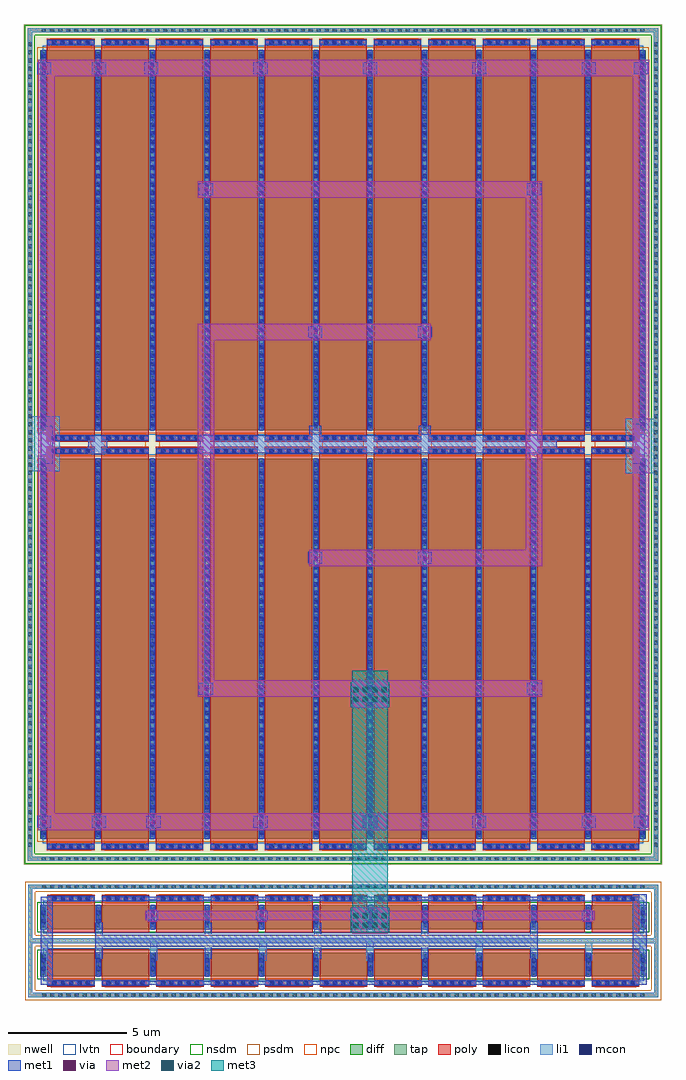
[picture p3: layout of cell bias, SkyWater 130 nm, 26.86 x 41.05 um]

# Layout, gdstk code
import gdstk
lib = gdstk.Library(unit=1e-6, precision=1e-09)
def R(c, l, rs):  # rectangles x0, y0, x1, y1
    for r in rs: c.add(gdstk.rectangle(r[:2], r[2:], *l))
def A(c, l, x, y, w, h, nx, ny, dx, dy):  # array of equal rectangles
    R(c, l, [(x+i*dx, y+j*dy, x+i*dx+w, y+j*dy+h) for i in range(nx) for j in range(ny)])
nwell = (64, 20)
diff = (65, 20)
tap = (65, 44)
poly = (66, 20)
licon = (66, 44)
li1 = (67, 20)
mcon = (67, 44)
met1 = (68, 20)
via = (68, 44)
met2 = (69, 20)
via2 = (69, 44)
met3 = (70, 20)
nsdm = (93, 44)
psdm = (94, 20)
npc = (95, 20)
lvtn = (125, 44)
boundary = (235, 4)

sky130_fd_pr__pfet_01v8_ = lib.new_cell('sky130_fd_pr__pfet_01v8_lvt_QH9SH3')
R(sky130_fd_pr__pfet_01v8_, nwell, [(-13.43,-17.685,13.43,17.685)])
R(sky130_fd_pr__pfet_01v8_, diff, [(-12.74,-16.59,12.74,-0.59), (-12.74,0.59,12.74,16.59)])
R(sky130_fd_pr__pfet_01v8_, tap, [(-13.25,-17.505,13.25,-17.335), (-13.25,-17.335,-13.08,17.335), (13.08,-17.335,13.25,17.335), (-13.25,17.335,13.25,17.505)])
A(sky130_fd_pr__pfet_01v8_, poly, -12.45, -17.075, 2, 16.97, 11, 2, 2.29, 17.18)
A(sky130_fd_pr__pfet_01v8_, licon, -12.665, -17.505, 0.17, 0.17, 75, 2, 0.34, 34.84)
A(sky130_fd_pr__pfet_01v8_, licon, -12.215, -16.995, 0.17, 0.17, 5, 2, 0.34, 16.64)
A(sky130_fd_pr__pfet_01v8_, licon, -9.925, -16.995, 0.17, 0.17, 5, 2, 0.34, 16.64)
A(sky130_fd_pr__pfet_01v8_, licon, -7.635, -16.995, 0.17, 0.17, 5, 2, 0.34, 16.64)
A(sky130_fd_pr__pfet_01v8_, licon, -5.345, -16.995, 0.17, 0.17, 5, 2, 0.34, 16.64)
A(sky130_fd_pr__pfet_01v8_, licon, -3.055, -16.995, 0.17, 0.17, 5, 2, 0.34, 16.64)
A(sky130_fd_pr__pfet_01v8_, licon, -0.765, -16.995, 0.17, 0.17, 5, 2, 0.34, 16.64)
A(sky130_fd_pr__pfet_01v8_, licon, 1.525, -16.995, 0.17, 0.17, 5, 2, 0.34, 16.64)
A(sky130_fd_pr__pfet_01v8_, licon, 3.815, -16.995, 0.17, 0.17, 5, 2, 0.34, 16.64)
A(sky130_fd_pr__pfet_01v8_, licon, 6.105, -16.995, 0.17, 0.17, 5, 2, 0.34, 16.64)
A(sky130_fd_pr__pfet_01v8_, licon, 8.395, -16.995, 0.17, 0.17, 5, 2, 0.34, 16.64)
A(sky130_fd_pr__pfet_01v8_, licon, 10.685, -16.995, 0.17, 0.17, 5, 2, 0.34, 16.64)
A(sky130_fd_pr__pfet_01v8_, licon, -13.25, -16.915, 0.17, 0.17, 1, 100, 0, 0.34)
A(sky130_fd_pr__pfet_01v8_, licon, 13.08, -16.915, 0.17, 0.17, 1, 100, 0, 0.34)
A(sky130_fd_pr__pfet_01v8_, licon, -12.68, -16.495, 0.17, 0.17, 12, 47, 2.29, 0.34)
A(sky130_fd_pr__pfet_01v8_, licon, -12.215, 0.185, 0.17, 0.17, 5, 2, 0.34, 16.64)
A(sky130_fd_pr__pfet_01v8_, licon, -9.925, 0.185, 0.17, 0.17, 5, 2, 0.34, 16.64)
A(sky130_fd_pr__pfet_01v8_, licon, -7.635, 0.185, 0.17, 0.17, 5, 2, 0.34, 16.64)
A(sky130_fd_pr__pfet_01v8_, licon, -5.345, 0.185, 0.17, 0.17, 5, 2, 0.34, 16.64)
A(sky130_fd_pr__pfet_01v8_, licon, -3.055, 0.185, 0.17, 0.17, 5, 2, 0.34, 16.64)
A(sky130_fd_pr__pfet_01v8_, licon, -0.765, 0.185, 0.17, 0.17, 5, 2, 0.34, 16.64)
A(sky130_fd_pr__pfet_01v8_, licon, 1.525, 0.185, 0.17, 0.17, 5, 2, 0.34, 16.64)
A(sky130_fd_pr__pfet_01v8_, licon, 3.815, 0.185, 0.17, 0.17, 5, 2, 0.34, 16.64)
A(sky130_fd_pr__pfet_01v8_, licon, 6.105, 0.185, 0.17, 0.17, 5, 2, 0.34, 16.64)
A(sky130_fd_pr__pfet_01v8_, licon, 8.395, 0.185, 0.17, 0.17, 5, 2, 0.34, 16.64)
A(sky130_fd_pr__pfet_01v8_, licon, 10.685, 0.185, 0.17, 0.17, 5, 2, 0.34, 16.64)
A(sky130_fd_pr__pfet_01v8_, licon, -12.68, 0.685, 0.17, 0.17, 12, 47, 2.29, 0.34)
A(sky130_fd_pr__pfet_01v8_, li1, -12.45, -16.995, 2, 0.17, 11, 2, 2.29, 16.64)
A(sky130_fd_pr__pfet_01v8_, li1, -12.68, -16.61, 0.17, 16.04, 12, 2, 2.29, 17.18)
A(sky130_fd_pr__pfet_01v8_, li1, -12.45, 0.185, 2, 0.17, 11, 2, 2.29, 16.64)
R(sky130_fd_pr__pfet_01v8_, li1, [(-13.25,-17.505,13.25,-17.335), (-13.25,-17.335,-13.08,17.335), (13.08,-17.335,13.25,17.335), (-13.25,17.335,13.25,17.505)])
A(sky130_fd_pr__pfet_01v8_, mcon, -12.255, -16.995, 0.17, 0.17, 5, 2, 0.36, 16.64)
A(sky130_fd_pr__pfet_01v8_, mcon, -9.965, -16.995, 0.17, 0.17, 5, 2, 0.36, 16.64)
A(sky130_fd_pr__pfet_01v8_, mcon, -7.675, -16.995, 0.17, 0.17, 5, 2, 0.36, 16.64)
A(sky130_fd_pr__pfet_01v8_, mcon, -5.385, -16.995, 0.17, 0.17, 5, 2, 0.36, 16.64)
A(sky130_fd_pr__pfet_01v8_, mcon, -3.095, -16.995, 0.17, 0.17, 5, 2, 0.36, 16.64)
A(sky130_fd_pr__pfet_01v8_, mcon, -0.805, -16.995, 0.17, 0.17, 5, 2, 0.36, 16.64)
A(sky130_fd_pr__pfet_01v8_, mcon, 1.485, -16.995, 0.17, 0.17, 5, 2, 0.36, 16.64)
A(sky130_fd_pr__pfet_01v8_, mcon, 3.775, -16.995, 0.17, 0.17, 5, 2, 0.36, 16.64)
A(sky130_fd_pr__pfet_01v8_, mcon, 6.065, -16.995, 0.17, 0.17, 5, 2, 0.36, 16.64)
A(sky130_fd_pr__pfet_01v8_, mcon, 8.355, -16.995, 0.17, 0.17, 5, 2, 0.36, 16.64)
A(sky130_fd_pr__pfet_01v8_, mcon, 10.645, -16.995, 0.17, 0.17, 5, 2, 0.36, 16.64)
A(sky130_fd_pr__pfet_01v8_, mcon, -12.68, -16.415, 0.17, 0.17, 12, 44, 2.29, 0.36)
A(sky130_fd_pr__pfet_01v8_, mcon, -12.255, 0.185, 0.17, 0.17, 5, 2, 0.36, 16.64)
A(sky130_fd_pr__pfet_01v8_, mcon, -9.965, 0.185, 0.17, 0.17, 5, 2, 0.36, 16.64)
A(sky130_fd_pr__pfet_01v8_, mcon, -7.675, 0.185, 0.17, 0.17, 5, 2, 0.36, 16.64)
A(sky130_fd_pr__pfet_01v8_, mcon, -5.385, 0.185, 0.17, 0.17, 5, 2, 0.36, 16.64)
A(sky130_fd_pr__pfet_01v8_, mcon, -3.095, 0.185, 0.17, 0.17, 5, 2, 0.36, 16.64)
A(sky130_fd_pr__pfet_01v8_, mcon, -0.805, 0.185, 0.17, 0.17, 5, 2, 0.36, 16.64)
A(sky130_fd_pr__pfet_01v8_, mcon, 1.485, 0.185, 0.17, 0.17, 5, 2, 0.36, 16.64)
A(sky130_fd_pr__pfet_01v8_, mcon, 3.775, 0.185, 0.17, 0.17, 5, 2, 0.36, 16.64)
A(sky130_fd_pr__pfet_01v8_, mcon, 6.065, 0.185, 0.17, 0.17, 5, 2, 0.36, 16.64)
A(sky130_fd_pr__pfet_01v8_, mcon, 8.355, 0.185, 0.17, 0.17, 5, 2, 0.36, 16.64)
A(sky130_fd_pr__pfet_01v8_, mcon, 10.645, 0.185, 0.17, 0.17, 5, 2, 0.36, 16.64)
A(sky130_fd_pr__pfet_01v8_, mcon, -12.68, 0.765, 0.17, 0.17, 12, 44, 2.29, 0.36)
A(sky130_fd_pr__pfet_01v8_, met1, -12.43, -17.025, 1.96, 0.23, 11, 2, 2.29, 16.64)
A(sky130_fd_pr__pfet_01v8_, met1, -12.71, -16.59, 0.23, 16, 12, 2, 2.29, 17.18)
A(sky130_fd_pr__pfet_01v8_, met1, -12.43, 0.155, 1.96, 0.23, 11, 2, 2.29, 16.64)
R(sky130_fd_pr__pfet_01v8_, nsdm, [(-13.375,-17.63,13.375,-17.21), (-13.375,-17.21,-12.955,17.21), (12.955,-17.21,13.375,17.21), (-13.375,17.21,13.375,17.63)])
R(sky130_fd_pr__pfet_01v8_, psdm, [(-12.865,-16.715,12.865,-0.465), (-12.865,0.465,12.865,16.715)])
A(sky130_fd_pr__pfet_01v8_, npc, -12.315, -17.095, 1.73, 0.37, 11, 2, 2.29, 33.82)
A(sky130_fd_pr__pfet_01v8_, npc, -12.315, -0.455, 1.73, 0.91, 11, 1, 2.29, 0)
R(sky130_fd_pr__pfet_01v8_, lvtn, [(-12.63,-16.77,12.63,-0.41), (-12.63,0.41,12.63,16.77)])
R(sky130_fd_pr__pfet_01v8_, boundary, [(-13.165,-17.42,13.165,17.42)])

sky130_fd_pr__nfet_01v8_ = lib.new_cell('sky130_fd_pr__nfet_01v8_lvt_M93XMJ')
R(sky130_fd_pr__nfet_01v8_, diff, [(-12.74,-0.655,12.74,0.345)])
R(sky130_fd_pr__nfet_01v8_, tap, [(-13.25,-1.215,13.25,-1.045), (-13.25,-1.045,-13.08,1.045), (13.08,-1.045,13.25,1.045), (-13.25,1.045,13.25,1.215)])
A(sky130_fd_pr__nfet_01v8_, poly, -12.45, -0.785, 2, 1.57, 11, 1, 2.29, 0)
A(sky130_fd_pr__nfet_01v8_, licon, -12.68, -0.58, 0.17, 0.17, 12, 3, 2.29, 0.34)
A(sky130_fd_pr__nfet_01v8_, licon, -12.215, 0.535, 0.17, 0.17, 5, 1, 0.34, 0)
A(sky130_fd_pr__nfet_01v8_, licon, -9.925, 0.535, 0.17, 0.17, 5, 1, 0.34, 0)
A(sky130_fd_pr__nfet_01v8_, licon, -7.635, 0.535, 0.17, 0.17, 5, 1, 0.34, 0)
A(sky130_fd_pr__nfet_01v8_, licon, -5.345, 0.535, 0.17, 0.17, 5, 1, 0.34, 0)
A(sky130_fd_pr__nfet_01v8_, licon, -3.055, 0.535, 0.17, 0.17, 5, 1, 0.34, 0)
A(sky130_fd_pr__nfet_01v8_, licon, -0.765, 0.535, 0.17, 0.17, 5, 1, 0.34, 0)
A(sky130_fd_pr__nfet_01v8_, licon, 1.525, 0.535, 0.17, 0.17, 5, 1, 0.34, 0)
A(sky130_fd_pr__nfet_01v8_, licon, 3.815, 0.535, 0.17, 0.17, 5, 1, 0.34, 0)
A(sky130_fd_pr__nfet_01v8_, licon, 6.105, 0.535, 0.17, 0.17, 5, 1, 0.34, 0)
A(sky130_fd_pr__nfet_01v8_, licon, 8.395, 0.535, 0.17, 0.17, 5, 1, 0.34, 0)
A(sky130_fd_pr__nfet_01v8_, licon, 10.685, 0.535, 0.17, 0.17, 5, 1, 0.34, 0)
A(sky130_fd_pr__nfet_01v8_, licon, -12.665, 1.045, 0.17, 0.17, 75, 1, 0.34, 0)
A(sky130_fd_pr__nfet_01v8_, li1, -12.68, -0.675, 0.17, 1.04, 12, 1, 2.29, 0)
A(sky130_fd_pr__nfet_01v8_, li1, -12.45, 0.535, 2, 0.17, 11, 1, 2.29, 0)
R(sky130_fd_pr__nfet_01v8_, li1, [(-13.25,-1.215,13.25,-1.045), (-13.25,-1.045,-13.08,1.045), (13.08,-1.045,13.25,1.045), (-13.25,1.045,13.25,1.215)])
A(sky130_fd_pr__nfet_01v8_, mcon, -12.68, -0.42, 0.17, 0.17, 12, 2, 2.29, 0.36)
A(sky130_fd_pr__nfet_01v8_, mcon, -12.255, 0.535, 0.17, 0.17, 5, 1, 0.36, 0)
A(sky130_fd_pr__nfet_01v8_, mcon, -9.965, 0.535, 0.17, 0.17, 5, 1, 0.36, 0)
A(sky130_fd_pr__nfet_01v8_, mcon, -7.675, 0.535, 0.17, 0.17, 5, 1, 0.36, 0)
A(sky130_fd_pr__nfet_01v8_, mcon, -5.385, 0.535, 0.17, 0.17, 5, 1, 0.36, 0)
A(sky130_fd_pr__nfet_01v8_, mcon, -3.095, 0.535, 0.17, 0.17, 5, 1, 0.36, 0)
A(sky130_fd_pr__nfet_01v8_, mcon, -0.805, 0.535, 0.17, 0.17, 5, 1, 0.36, 0)
A(sky130_fd_pr__nfet_01v8_, mcon, 1.485, 0.535, 0.17, 0.17, 5, 1, 0.36, 0)
A(sky130_fd_pr__nfet_01v8_, mcon, 3.775, 0.535, 0.17, 0.17, 5, 1, 0.36, 0)
A(sky130_fd_pr__nfet_01v8_, mcon, 6.065, 0.535, 0.17, 0.17, 5, 1, 0.36, 0)
A(sky130_fd_pr__nfet_01v8_, mcon, 8.355, 0.535, 0.17, 0.17, 5, 1, 0.36, 0)
A(sky130_fd_pr__nfet_01v8_, mcon, 10.645, 0.535, 0.17, 0.17, 5, 1, 0.36, 0)
A(sky130_fd_pr__nfet_01v8_, met1, -12.71, -0.655, 0.23, 1, 12, 1, 2.29, 0)
A(sky130_fd_pr__nfet_01v8_, met1, -12.43, 0.505, 1.96, 0.23, 11, 1, 2.29, 0)
R(sky130_fd_pr__nfet_01v8_, nsdm, [(-12.865,-0.78,12.865,0.47)])
R(sky130_fd_pr__nfet_01v8_, psdm, [(-13.375,-1.34,13.375,-0.92), (-13.375,-0.92,-12.955,0.92), (12.955,-0.92,13.375,0.92), (-13.375,0.92,13.375,1.34)])
A(sky130_fd_pr__nfet_01v8_, npc, -12.315, 0.435, 1.73, 0.37, 11, 1, 2.29, 0)
R(sky130_fd_pr__nfet_01v8_, lvtn, [(-12.63,-0.835,12.63,0.525)])
R(sky130_fd_pr__nfet_01v8_, boundary, [(-13.165,-1.13,13.165,1.13)])

c_sky130_fd_pr__nfet_01v8_ = lib.new_cell('sky130_fd_pr__nfet_01v8_lvt_J9QE6F')
R(c_sky130_fd_pr__nfet_01v8_, diff, [(-12.74,-0.345,12.74,0.655)])
R(c_sky130_fd_pr__nfet_01v8_, tap, [(-13.25,-1.215,13.25,-1.045), (-13.25,-1.045,-13.08,1.045), (13.08,-1.045,13.25,1.045), (-13.25,1.045,13.25,1.215)])
A(c_sky130_fd_pr__nfet_01v8_, poly, -12.45, -0.785, 2, 1.57, 11, 1, 2.29, 0)
A(c_sky130_fd_pr__nfet_01v8_, licon, -12.665, -1.215, 0.17, 0.17, 75, 1, 0.34, 0)
A(c_sky130_fd_pr__nfet_01v8_, licon, -12.215, -0.705, 0.17, 0.17, 5, 1, 0.34, 0)
A(c_sky130_fd_pr__nfet_01v8_, licon, -9.925, -0.705, 0.17, 0.17, 5, 1, 0.34, 0)
A(c_sky130_fd_pr__nfet_01v8_, licon, -7.635, -0.705, 0.17, 0.17, 5, 1, 0.34, 0)
A(c_sky130_fd_pr__nfet_01v8_, licon, -5.345, -0.705, 0.17, 0.17, 5, 1, 0.34, 0)
A(c_sky130_fd_pr__nfet_01v8_, licon, -3.055, -0.705, 0.17, 0.17, 5, 1, 0.34, 0)
A(c_sky130_fd_pr__nfet_01v8_, licon, -0.765, -0.705, 0.17, 0.17, 5, 1, 0.34, 0)
A(c_sky130_fd_pr__nfet_01v8_, licon, 1.525, -0.705, 0.17, 0.17, 5, 1, 0.34, 0)
A(c_sky130_fd_pr__nfet_01v8_, licon, 3.815, -0.705, 0.17, 0.17, 5, 1, 0.34, 0)
A(c_sky130_fd_pr__nfet_01v8_, licon, 6.105, -0.705, 0.17, 0.17, 5, 1, 0.34, 0)
A(c_sky130_fd_pr__nfet_01v8_, licon, 8.395, -0.705, 0.17, 0.17, 5, 1, 0.34, 0)
A(c_sky130_fd_pr__nfet_01v8_, licon, 10.685, -0.705, 0.17, 0.17, 5, 1, 0.34, 0)
A(c_sky130_fd_pr__nfet_01v8_, licon, -12.68, -0.27, 0.17, 0.17, 12, 3, 2.29, 0.34)
A(c_sky130_fd_pr__nfet_01v8_, li1, -12.45, -0.705, 2, 0.17, 11, 1, 2.29, 0)
A(c_sky130_fd_pr__nfet_01v8_, li1, -12.68, -0.365, 0.17, 1.04, 12, 1, 2.29, 0)
R(c_sky130_fd_pr__nfet_01v8_, li1, [(-13.25,-1.215,13.25,-1.045), (-13.25,-1.045,-13.08,1.045), (13.08,-1.045,13.25,1.045), (-13.25,1.045,13.25,1.215)])
A(c_sky130_fd_pr__nfet_01v8_, mcon, -12.255, -0.705, 0.17, 0.17, 5, 1, 0.36, 0)
A(c_sky130_fd_pr__nfet_01v8_, mcon, -9.965, -0.705, 0.17, 0.17, 5, 1, 0.36, 0)
A(c_sky130_fd_pr__nfet_01v8_, mcon, -7.675, -0.705, 0.17, 0.17, 5, 1, 0.36, 0)
A(c_sky130_fd_pr__nfet_01v8_, mcon, -5.385, -0.705, 0.17, 0.17, 5, 1, 0.36, 0)
A(c_sky130_fd_pr__nfet_01v8_, mcon, -3.095, -0.705, 0.17, 0.17, 5, 1, 0.36, 0)
A(c_sky130_fd_pr__nfet_01v8_, mcon, -0.805, -0.705, 0.17, 0.17, 5, 1, 0.36, 0)
A(c_sky130_fd_pr__nfet_01v8_, mcon, 1.485, -0.705, 0.17, 0.17, 5, 1, 0.36, 0)
A(c_sky130_fd_pr__nfet_01v8_, mcon, 3.775, -0.705, 0.17, 0.17, 5, 1, 0.36, 0)
A(c_sky130_fd_pr__nfet_01v8_, mcon, 6.065, -0.705, 0.17, 0.17, 5, 1, 0.36, 0)
A(c_sky130_fd_pr__nfet_01v8_, mcon, 8.355, -0.705, 0.17, 0.17, 5, 1, 0.36, 0)
A(c_sky130_fd_pr__nfet_01v8_, mcon, 10.645, -0.705, 0.17, 0.17, 5, 1, 0.36, 0)
A(c_sky130_fd_pr__nfet_01v8_, mcon, -12.68, -0.11, 0.17, 0.17, 12, 2, 2.29, 0.36)
A(c_sky130_fd_pr__nfet_01v8_, met1, -12.43, -0.735, 1.96, 0.23, 11, 1, 2.29, 0)
A(c_sky130_fd_pr__nfet_01v8_, met1, -12.71, -0.345, 0.23, 1, 12, 1, 2.29, 0)
R(c_sky130_fd_pr__nfet_01v8_, nsdm, [(-12.865,-0.47,12.865,0.78)])
R(c_sky130_fd_pr__nfet_01v8_, psdm, [(-13.375,-1.34,13.375,-0.92), (-13.375,-0.92,-12.955,0.92), (12.955,-0.92,13.375,0.92), (-13.375,0.92,13.375,1.34)])
A(c_sky130_fd_pr__nfet_01v8_, npc, -12.315, -0.805, 1.73, 0.37, 11, 1, 2.29, 0)
R(c_sky130_fd_pr__nfet_01v8_, lvtn, [(-12.63,-0.525,12.63,0.835)])
R(c_sky130_fd_pr__nfet_01v8_, boundary, [(-13.165,-1.13,13.165,1.13)])

bias = lib.new_cell('bias')
A(bias, li1, 0.9, 1.8, 0.3, 0.9, 3, 1, 4.6, 0)
A(bias, li1, 14.6, 1.8, 0.3, 0.9, 3, 1, 4.6, 0)
R(bias, li1, [(26.1,1.8,26.4,2.7), (25.5,22.3,26.8,24.6), (0.4,22.4,1.7,24.7)])
A(bias, met1, 3.2, 1.9, 0.3, 0.5, 3, 2, 4.6, 1)
A(bias, met1, 5.35, 3.5, 0.5, 0.4, 3, 1, 4.6, 0)
A(bias, met1, 0.75, 7.4, 0.6, 0.5, 3, 1, 2.3, 0)
A(bias, met1, 9.85, 7.4, 0.6, 0.5, 4, 1, 4.6, 0)
A(bias, met1, 5.25, 39.1, 0.6, 0.5, 5, 1, 4.6, 0)
R(bias, met1, [(0.9,0.8,1.4,4.5), (5.4,0.8,21.9,0.95), (25.8,0.8,26.4,4.6), (16.9,1.9,17.2,2.4), (21.5,1.9,21.8,2.4), (3.2,2.4,21.8,2.9), (16.9,2.9,17.2,3.4), (21.5,2.9,21.8,3.4), (19.05,3.5,19.55,3.9), (23.65,3.5,24.15,3.9), (5.4,4.35,21.9,4.5), (25.85,7.4,26.45,7.9), (7.55,13,8.15,13.5), (21.35,13,22,13.5), (12.15,18.5,12.75,19), (16.75,18.5,17.35,19), (0.9,22.7,1.4,24.3), (25.8,22.7,26.3,24.4), (2.9,23.1,3.7,23.9), (7.6,23.15,22.6,23.9), (12.2,23.9,12.7,24.3), (16.8,23.9,17.3,24.3), (12.15,28,12.75,28.5), (16.75,28,17.35,28.5), (7.55,34,8.15,34.5), (21.35,34,21.95,34.5), (0.75,39.1,1.35,39.6), (3.05,39.1,3.65,39.6), (25.85,39.1,26.45,39.6)])
A(bias, via, 5.525, 3.625, 0.15, 0.15, 3, 1, 4.6, 0)
A(bias, via, 0.975, 7.575, 0.15, 0.15, 3, 1, 2.3, 0)
A(bias, via, 10.075, 7.575, 0.15, 0.15, 4, 1, 4.6, 0)
A(bias, via, 5.475, 39.275, 0.15, 0.15, 5, 1, 4.6, 0)
R(bias, via, [(19.225,3.625,19.375,3.775), (23.825,3.625,23.975,3.775), (26.075,7.575,26.225,7.725), (7.775,13.175,7.925,13.325), (21.6,13.175,21.75,13.325), (12.375,18.675,12.525,18.825), (16.975,18.675,17.125,18.825), (12.375,28.175,12.525,28.325), (16.975,28.175,17.125,28.325), (7.775,34.175,7.925,34.325), (21.575,34.175,21.725,34.325), (0.975,39.275,1.125,39.425), (3.275,39.275,3.425,39.425), (26.075,39.275,26.225,39.425)])
R(bias, met2, [(14,2.95,15.5,3.5), (5.4,3.45,5.8,3.5), (10,3.45,10.4,3.5), (19.1,3.45,19.5,3.5), (23.7,3.45,24.1,3.5), (5.3,3.5,24.2,3.9), (5.4,3.9,5.8,3.95), (10,3.9,10.4,3.95), (14,3.9,15.5,4.05), (19.1,3.9,19.5,3.95), (23.7,3.9,24.1,3.95), (0.8,7.3,26.5,8), (0.8,8,1.5,39), (25.8,8,26.5,39), (14,12.45,15.5,12.9), (7.5,12.9,22,13.6), (7.5,13.6,8.2,27.9), (12.2,18.4,22,19.1), (21.3,19.1,22,33.9), (7.5,27.9,17.3,28.6), (7.5,33.9,22,34.6), (0.8,39,26.5,39.7)])
A(bias, via2, 14.05, 3.2, 0.2, 0.2, 4, 2, 0.4, 0.4)
A(bias, via2, 14.05, 12.7, 0.2, 0.2, 4, 2, 0.4, 0.4)
R(bias, met3, [(13.95,2.975,15.55,4.025), (14,4.025,15.5,12.475), (13.95,12.475,15.55,13.525), (14,13.525,15.5,14)])
bias.add(gdstk.Reference(sky130_fd_pr__pfet_01v8_, (13.615,23.52)))
bias.add(gdstk.Reference(sky130_fd_pr__nfet_01v8_, (13.63,3.795)))
bias.add(gdstk.Reference(c_sky130_fd_pr__nfet_01v8_, (13.63,1.495)))

lib.write_gds('bias.gds')
